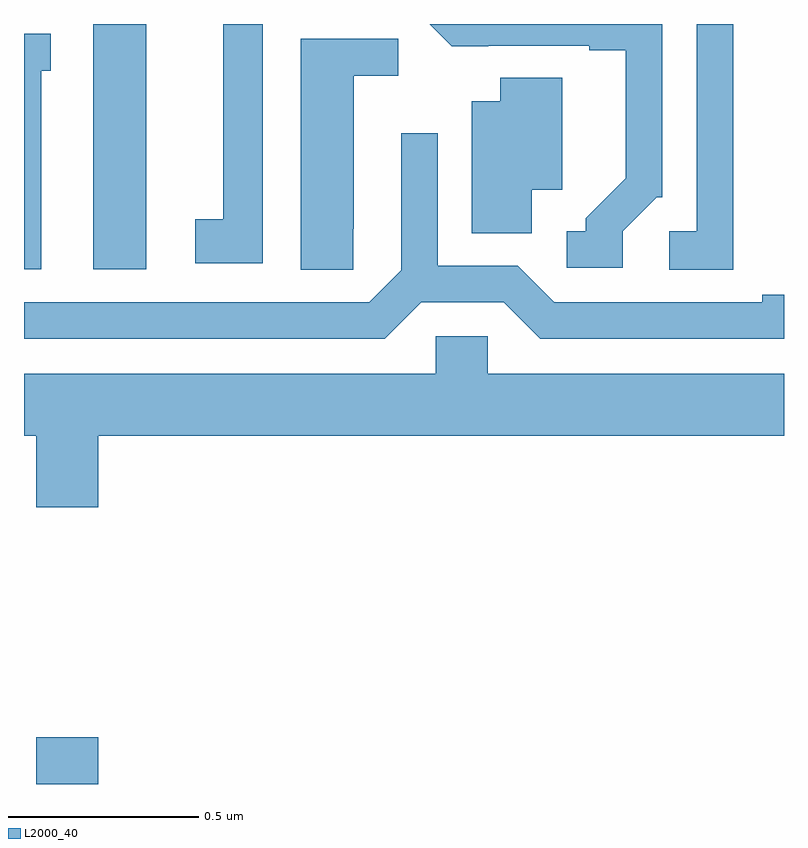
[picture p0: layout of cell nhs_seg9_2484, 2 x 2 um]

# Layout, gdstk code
import gdstk
lib = gdstk.Library(unit=1e-6, precision=1e-09)
def R(c, l, rs):  # rectangles x0, y0, x1, y1
    for r in rs: c.add(gdstk.rectangle(r[:2], r[2:], *l))
def P(c, l, *ps):  # polygons
    for p in ps: c.add(gdstk.Polygon(p, *l))
L2000_40 = (2000, 40)

nhs_seg9_2484 = lib.new_cell('nhs_seg9_2484')
R(nhs_seg9_2484, L2000_40, [(141.032,1199.5,141.196,1199.623), (141.182,1200.855,141.322,1201.5)])
P(nhs_seg9_2484, L2000_40, [(142.867,1201.5),(142.77,1201.5),(142.77,1200.954),(142.698,1200.954),(142.698,1200.853),(142.867,1200.853)],
  [(141.628,1201.5),(141.524,1201.5),(141.524,1200.986),(141.45,1200.986),(141.45,1200.87),(141.628,1200.87)],
  [(142.575,1200.954),(142.665,1201.044),(142.68,1201.044),(142.68,1201.5),(142.068,1201.5),(142.126,1201.442),(142.222,1201.442),(142.222,1201.443),(142.487,1201.443),(142.487,1201.431),(142.583,1201.431),(142.583,1201.094),(142.478,1200.989),(142.478,1200.954),(142.428,1200.954),(142.428,1200.858),(142.575,1200.858)],
  [(141.046,1201.377),(141.07,1201.377),(141.07,1201.475),(141,1201.475),(141,1200.855),(141.046,1200.855)],
  [(141.867,1200.961),(141.868,1200.961),(141.868,1201.364),(141.985,1201.364),(141.985,1201.461),(141.728,1201.461),(141.728,1200.853),(141.867,1200.853)],
  [(142.336,1201.064),(142.417,1201.064),(142.417,1201.358),(142.253,1201.358),(142.253,1201.297),(142.178,1201.297),(142.178,1200.949),(142.336,1200.949)],
  [(142.045,1200.768),(142.263,1200.768),(142.359,1200.672),(143,1200.672),(143,1200.788),(142.943,1200.788),(142.943,1200.768),(142.395,1200.768),(142.299,1200.864),(142.089,1200.864),(142.089,1201.213),(141.993,1201.213),(141.993,1200.852),(141.909,1200.768),(141,1200.768),(141,1200.672),(141.949,1200.672)],
  [(141.196,1200.416),(143,1200.416),(143,1200.58),(142.221,1200.58),(142.221,1200.678),(142.083,1200.678),(142.083,1200.58),(141,1200.58),(141,1200.416),(141.032,1200.416),(141.032,1200.228),(141.196,1200.228)])

lib.write_gds('nhs_seg9_2484.gds')
